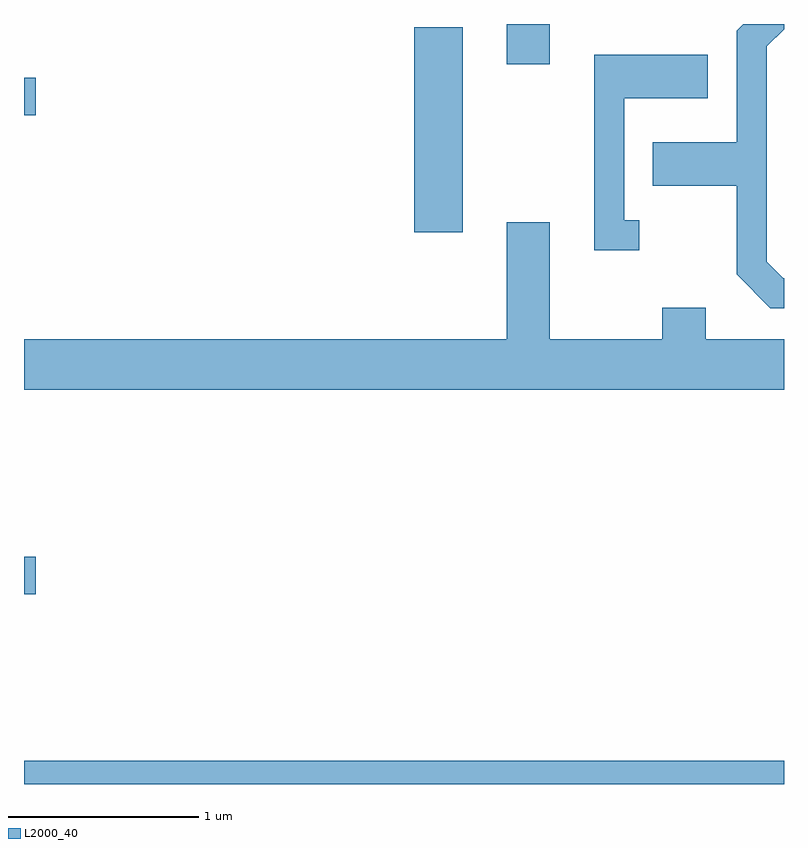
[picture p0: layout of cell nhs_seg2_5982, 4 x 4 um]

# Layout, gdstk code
import gdstk
lib = gdstk.Library(unit=1e-6, precision=1e-09)
def R(c, l, rs):  # rectangles x0, y0, x1, y1
    for r in rs: c.add(gdstk.rectangle(r[:2], r[2:], *l))
def P(c, l, *ps):  # polygons
    for p in ps: c.add(gdstk.Polygon(p, *l))
L2000_40 = (2000, 40)

nhs_seg2_5982 = lib.new_cell('nhs_seg2_5982')
R(nhs_seg2_5982, L2000_40, [(361.611,1041.802,365.611,1041.924), (361.611,1042.801,361.674,1042.999), (363.666,1044.706,363.919,1045.784), (361.611,1045.321,361.674,1045.519), (364.151,1045.591,364.379,1045.802)])
P(nhs_seg2_5982, L2000_40, [(365.611,1044.464),(365.607,1044.464),(365.519,1044.552),(365.519,1045.684),(365.611,1045.775),(365.611,1045.802),(365.396,1045.802),(365.361,1045.767),(365.361,1045.179),(364.921,1045.179),(364.921,1044.951),(365.361,1044.951),(365.361,1044.484),(365.539,1044.306),(365.611,1044.306)],
  [(364.848,1044.769),(364.769,1044.769),(364.769,1045.411),(365.209,1045.411),(365.209,1045.639),(364.611,1045.639),(364.611,1044.611),(364.848,1044.611)],
  [(365.611,1044.144),(365.199,1044.144),(365.199,1044.309),(364.971,1044.309),(364.971,1044.144),(364.379,1044.144),(364.379,1044.759),(364.151,1044.759),(364.151,1044.144),(361.611,1044.144),(361.611,1043.876),(365.611,1043.876)])

lib.write_gds('nhs_seg2_5982.gds')
